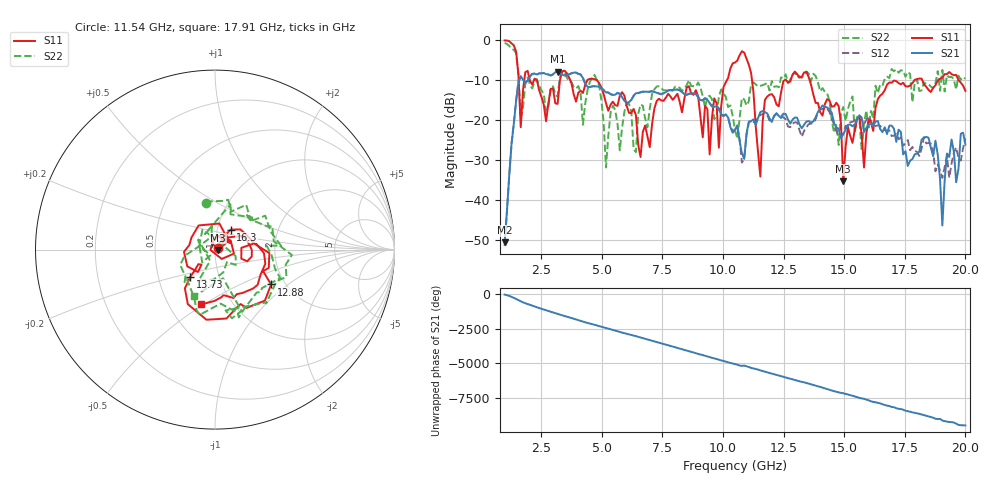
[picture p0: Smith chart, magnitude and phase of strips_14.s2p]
!Agilent Technologies,N5230A,MY45001629,A.07.50.67
!Agilent N5230A: A.07.50.67
!Date: Monday, June 05, 2017 16:33:05
!Correction: S11(Full 2 Port(1,2))
!S21(Full 2 Port(1,2))
!S12(Full 2 Port(1,2))
!S22(Full 2 Port(1,2))
!S2P File: Measurements: S11, S21, S12, S22:
# Hz S  dB  R 50
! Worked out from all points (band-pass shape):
!   201 points, 1 GHz to 20 GHz, reference 50 ohm
!   highest |S21| = -8.01 dB at 3.185 GHz (marker M1); lowest = -50.6 dB at 1 GHz (marker M2)
!   |S21| within 3 dB of the highest: 1.562 GHz to 4.326 GHz (2.764 GHz wide, 93.9 % of centre)
!   lowest |S11| = -35.4 dB at 14.96 GHz (marker M3), VSWR 1.03, Z = 51.7 - j0.198 ohm
!   |S11| at or under -10 dB: 4.744 GHz to 10.18 GHz (5.435 GHz wide, 72.8 % of centre); 11.2 GHz to 12.59 GHz (1.39 GHz wide, 11.7 % of centre); 13.57 GHz to 17.93 GHz (4.362 GHz wide, 27.7 % of centre)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
!   |S22| runs from -31.9 to -0.9 dB; largest |S21 - S12| = 0.044
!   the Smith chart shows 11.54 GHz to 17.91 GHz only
!   S11 on the Smith chart (normalised r, x): 11.54 GHz: 1.04, +0.02; 12.88 GHz: 1.69, -0.76; 13.73 GHz: 0.73, -0.23; 16.3 GHz: 1.16, +0.26; 17.91 GHz: 0.72, -0.49
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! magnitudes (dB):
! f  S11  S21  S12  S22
! 1 GHz  -0.2  -50.6  -51.6  -0.9
! 1.57 GHz  -8.9  -10.6  -10.6  -8.6
! 3.185 GHz  -16.1  -8.0  -8.0  -14.2
! 4.23 GHz  -13.3  -9.6  -9.6  -21.3
! 6.605 GHz  -29.3  -13.2  -13.1  -16.2
! 7.365 GHz  -14.8  -13.4  -13.5  -11.6
! 9.455 GHz  -28.6  -15.9  -15.9  -14.0
! 10.5 GHz  -5.7  -22.5  -22.3  -22.5
! 11.16 GHz  -8.3  -20.4  -20.1  -11.1
! 11.54 GHz  -34.2  -18.1  -18.8  -11.6
! 11.73 GHz  -15.0  -18.1  -18.2  -11.2
! 12.88 GHz  -8.7  -20.0  -21.0  -9.0
! 13.73 GHz  -13.7  -20.4  -20.8  -8.5
! 14.78 GHz  -16.6  -22.3  -24.1  -26.3
! 14.96 GHz  -35.4  -23.6  -23.5  -16.8
! 15.72 GHz  -23.8  -19.5  -20.0  -27.8
! 16.3 GHz  -17.0  -20.5  -21.6  -11.5
! 16.86 GHz  -10.7  -21.5  -22.7  -9.6
! 17.91 GHz  -10.0  -28.7  -27.8  -10.9
! 18.77 GHz  -11.4  -25.2  -32.9  -10.9
! 19.05 GHz  -9.5  -46.4  -34.5  -7.6
! 20 GHz  -12.8  -26.2  -24.6  -9.8
